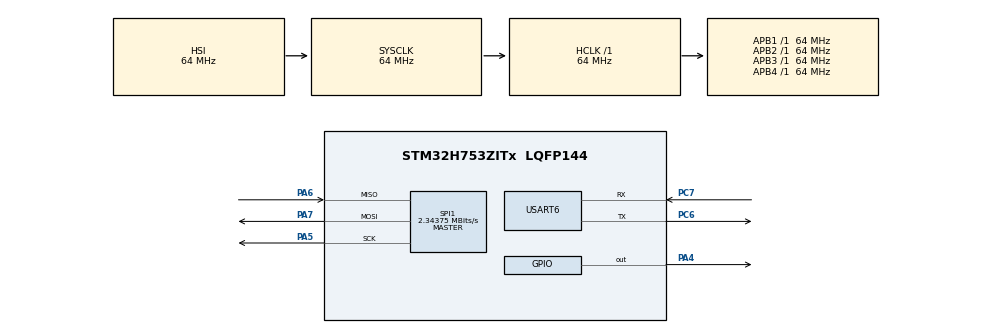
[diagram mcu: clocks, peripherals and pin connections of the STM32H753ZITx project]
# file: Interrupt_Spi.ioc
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CORTEX_M7.CPU_DCache=Disabled
CORTEX_M7.CPU_ICache=Disabled
CORTEX_M7.MPU_Control=__NULL
CORTEX_M7.default_mode_Activation=1
Mcu.Family=STM32H7
Mcu.Name=STM32H753ZITx
Mcu.Package=LQFP144
NVIC.PriorityGroup=NVIC_PRIORITYGROUP_4
NVIC.SPI1_IRQn=true\:0\:0\:false\:false\:true\:true\:true\:true
PA4.Signal=GPIO_Output
PA5.Mode=Full_Duplex_Master
PA5.Signal=SPI1_SCK
PA6.Mode=Full_Duplex_Master
PA6.Signal=SPI1_MISO
PA7.Mode=Full_Duplex_Master
PA7.Signal=SPI1_MOSI
PB0.TagName=LD1
PB14.TagName=LD3
PB7.TagName=LD2
PC13.TagName=BUTTON
PC6.Mode=Asynchronous
PC6.Signal=USART6_TX
PC7.Mode=Asynchronous
PC7.Signal=USART6_RX
PD8.TagName=VCP_TX
PD9.TagName=VCP_RX
ProjectManager.HeapSize=0x200
ProjectManager.StackSize=0x400
ProjectManager.TargetToolchain=STM32CubeIDE
RCC.ADCFreq_Value=129000000
RCC.APB1Freq_Value=64000000
RCC.APB2Freq_Value=64000000
RCC.APB3Freq_Value=64000000
RCC.APB4Freq_Value=64000000
RCC.CortexFreq_Value=64000000
RCC.DIVM1=4
RCC.DIVN1=9
RCC.DIVQ1=1
RCC.HCLKFreq_Value=64000000
RCC.HSE_VALUE=8000000
RCC.PLLFRACN=3072
RCC.PWR_Regulator_Voltage_Scale=PWR_REGULATOR_VOLTAGE_SCALE2
RCC.SYSCLKFreq_VALUE=64000000
RCC.USBFreq_Value=150000000
SPI1.BaudRatePrescaler=SPI_BAUDRATEPRESCALER_64
SPI1.CalculateBaudRate=2.34375 MBits/s
SPI1.DataSize=SPI_DATASIZE_8BIT
SPI1.Direction=SPI_DIRECTION_2LINES
SPI1.Mode=SPI_MODE_MASTER
SPI1.VirtualType=VM_MASTER
USART6.VirtualMode-Asynchronous=VM_ASYNC
VP_MEMORYMAP_VS_MEMORYMAP.Mode=CurAppReg
board=NUCLEO-H753ZI

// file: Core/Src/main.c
/* USER CODE BEGIN Header */
/**
  ******************************************************************************
  * @file           : main.c
  * @brief          : SPI1 Master (IT) + UART6 print demo
  ******************************************************************************
  */
/* USER CODE END Header */

#include "main.h"

/* USER CODE BEGIN Includes */
#include <string.h>
#include <stdio.h>
/* USER CODE END Includes */

SPI_HandleTypeDef hspi1;
UART_HandleTypeDef huart6;

/* USER CODE BEGIN PV */
static volatile uint8_t spi_busy = 0;
static volatile uint8_t spi_done = 0;

static uint8_t txByte = 0x00;
static uint8_t rxByte = 0x00;

static char uartBuf[80];
/* USER CODE END PV */

void SystemClock_Config(void);
static void MX_GPIO_Init(void);
static void MX_SPI1_Init(void);
static void MX_USART6_UART_Init(void);

/* USER CODE BEGIN PFP */
static void CS_Low(void);
static void CS_High(void);
static void uart_print(const char *s);
static void SPI1_TransferByte_IT(uint8_t b);
/* USER CODE END PFP */

/* USER CODE BEGIN 0 */

static void CS_Low(void)
{
  HAL_GPIO_WritePin(GPIOA, GPIO_PIN_4, GPIO_PIN_RESET);
}

static void CS_High(void)
{
  HAL_GPIO_WritePin(GPIOA, GPIO_PIN_4, GPIO_PIN_SET);
}

static void uart_print(const char *s)
{
  HAL_UART_Transmit(&huart6, (uint8_t*)s, (uint16_t)strlen(s), 100);
}

/**
  * Start 1-byte SPI transfer using interrupts.
  * This function only starts the transfer; completion happens in callback.
  */
static void SPI1_TransferByte_IT(uint8_t b)
{
  if (spi_busy) return;

  spi_busy = 1;
  spi_done = 0;
  txByte = b;

  CS_Low();

  if (HAL_SPI_TransmitReceive_IT(&hspi1, &txByte, &rxByte, 1) != HAL_OK)
  {
    CS_High();
    spi_busy = 0;
    uart_print("HAL_SPI_TransmitReceive_IT failed\r\n");
  }
}

/**
  * SPI interrupt completion callback
  */
void HAL_SPI_TxRxCpltCallback(SPI_HandleTypeDef *hspi)
{
  if (hspi->Instance == SPI1)
  {
    CS_High();
    spi_busy = 0;
    spi_done = 1;
  }
}

/**
  * SPI error callback
  */
void HAL_SPI_ErrorCallback(SPI_HandleTypeDef *hspi)
{
  if (hspi->Instance == SPI1)
  {
    CS_High();
    spi_busy = 0;
    spi_done = 0;
    uart_print("SPI1 Error Callback\r\n");
  }
}

/* USER CODE END 0 */

int main(void)
{
  HAL_Init();
  SystemClock_Config();

  MX_GPIO_Init();
  MX_SPI1_Init();
  MX_USART6_UART_Init();

  /* USER CODE BEGIN 2 */
  // Make CS idle HIGH (inactive). Your default code set PA4 RESET; we override here.
  CS_High();

  uart_print("STM32 SPI1 IT demo start\r\n");
  uart_print("Mode: SPI1 Master, 8-bit, CPOL=0 CPHA=1 (Mode0), presc=64\r\n");

  // Start first transfer
  SPI1_TransferByte_IT(txByte);
  /* USER CODE END 2 */

  while (1)
  {
    /* USER CODE BEGIN WHILE */

    // When one byte transaction is done, print it and start next one
    if (spi_done)
    {
      spi_done = 0;

      int n = snprintf(uartBuf, sizeof(uartBuf),
                       "Sent: 0x%02X  Received: 0x%02X\r\n",
                       txByte, rxByte);
      HAL_UART_Transmit(&huart6, (uint8_t*)uartBuf, (uint16_t)n, 100);

      txByte++;  // next byte to send

      HAL_Delay(500); // slow down for easy viewing

      SPI1_TransferByte_IT(txByte);
    }

    /* USER CODE END WHILE */
  }
}

/* ===================== CLOCK + INIT FUNCTIONS (CubeMX) ===================== */

void SystemClock_Config(void)
{
  RCC_OscInitTypeDef RCC_OscInitStruct = {0};
  RCC_ClkInitTypeDef RCC_ClkInitStruct = {0};

  HAL_PWREx_ConfigSupply(PWR_LDO_SUPPLY);
  __HAL_PWR_VOLTAGESCALING_CONFIG(PWR_REGULATOR_VOLTAGE_SCALE2);
  while(!__HAL_PWR_GET_FLAG(PWR_FLAG_VOSRDY)) {}

  RCC_OscInitStruct.OscillatorType = RCC_OSCILLATORTYPE_HSI;
  RCC_OscInitStruct.HSIState = RCC_HSI_DIV1;
  RCC_OscInitStruct.HSICalibrationValue = RCC_HSICALIBRATION_DEFAULT;
  RCC_OscInitStruct.PLL.PLLState = RCC_PLL_ON;
  RCC_OscInitStruct.PLL.PLLSource = RCC_PLLSOURCE_HSI;
  RCC_OscInitStruct.PLL.PLLM = 4;
  RCC_OscInitStruct.PLL.PLLN = 9;
  RCC_OscInitStruct.PLL.PLLP = 2;
  RCC_OscInitStruct.PLL.PLLQ = 1;
  RCC_OscInitStruct.PLL.PLLR = 2;
  RCC_OscInitStruct.PLL.PLLRGE = RCC_PLL1VCIRANGE_3;
  RCC_OscInitStruct.PLL.PLLVCOSEL = RCC_PLL1VCOMEDIUM;
  RCC_OscInitStruct.PLL.PLLFRACN = 3072;

  if (HAL_RCC_OscConfig(&RCC_OscInitStruct) != HAL_OK) Error_Handler();

  RCC_ClkInitStruct.ClockType = RCC_CLOCKTYPE_HCLK|RCC_CLOCKTYPE_SYSCLK
                              |RCC_CLOCKTYPE_PCLK1|RCC_CLOCKTYPE_PCLK2
                              |RCC_CLOCKTYPE_D3PCLK1|RCC_CLOCKTYPE_D1PCLK1;
  RCC_ClkInitStruct.SYSCLKSource = RCC_SYSCLKSOURCE_HSI;
  RCC_ClkInitStruct.SYSCLKDivider = RCC_SYSCLK_DIV1;
  RCC_ClkInitStruct.AHBCLKDivider = RCC_HCLK_DIV1;
  RCC_ClkInitStruct.APB3CLKDivider = RCC_APB3_DIV1;
  RCC_ClkInitStruct.APB1CLKDivider = RCC_APB1_DIV1;
  RCC_ClkInitStruct.APB2CLKDivider = RCC_APB2_DIV1;
  RCC_ClkInitStruct.APB4CLKDivider = RCC_APB4_DIV1;

  if (HAL_RCC_ClockConfig(&RCC_ClkInitStruct, FLASH_LATENCY_1) != HAL_OK)
    Error_Handler();
}

static void MX_SPI1_Init(void)
{
  hspi1.Instance = SPI1;
  hspi1.Init.Mode = SPI_MODE_MASTER;
  hspi1.Init.Direction = SPI_DIRECTION_2LINES;
  hspi1.Init.DataSize = SPI_DATASIZE_8BIT;
  hspi1.Init.CLKPolarity = SPI_POLARITY_LOW;
  hspi1.Init.CLKPhase = SPI_PHASE_1EDGE;
  hspi1.Init.NSS = SPI_NSS_SOFT;
  hspi1.Init.BaudRatePrescaler = SPI_BAUDRATEPRESCALER_64;
  hspi1.Init.FirstBit = SPI_FIRSTBIT_MSB;
  hspi1.Init.TIMode = SPI_TIMODE_DISABLE;
  hspi1.Init.CRCCalculation = SPI_CRCCALCULATION_DISABLE;
  hspi1.Init.CRCPolynomial = 0x0;
  hspi1.Init.NSSPMode = SPI_NSS_PULSE_ENABLE;
  hspi1.Init.NSSPolarity = SPI_NSS_POLARITY_LOW;
  hspi1.Init.FifoThreshold = SPI_FIFO_THRESHOLD_01DATA;
  hspi1.Init.TxCRCInitializationPattern = SPI_CRC_INITIALIZATION_ALL_ZERO_PATTERN;
  hspi1.Init.RxCRCInitializationPattern = SPI_CRC_INITIALIZATION_ALL_ZERO_PATTERN;
  hspi1.Init.MasterSSIdleness = SPI_MASTER_SS_IDLENESS_00CYCLE;
  hspi1.Init.MasterInterDataIdleness = SPI_MASTER_INTERDATA_IDLENESS_00CYCLE;
  hspi1.Init.MasterReceiverAutoSusp = SPI_MASTER_RX_AUTOSUSP_DISABLE;
  hspi1.Init.MasterKeepIOState = SPI_MASTER_KEEP_IO_STATE_DISABLE;
  hspi1.Init.IOSwap = SPI_IO_SWAP_DISABLE;

  if (HAL_SPI_Init(&hspi1) != HAL_OK) Error_Handler();
}

static void MX_USART6_UART_Init(void)
{
  huart6.Instance = USART6;
  huart6.Init.BaudRate = 115200;
  huart6.Init.WordLength = UART_WORDLENGTH_8B;
  huart6.Init.StopBits = UART_STOPBITS_1;
  huart6.Init.Parity = UART_PARITY_NONE;
  huart6.Init.Mode = UART_MODE_TX_RX;
  huart6.Init.HwFlowCtl = UART_HWCONTROL_NONE;
  huart6.Init.OverSampling = UART_OVERSAMPLING_16;
  huart6.Init.OneBitSampling = UART_ONE_BIT_SAMPLE_DISABLE;
  huart6.Init.ClockPrescaler = UART_PRESCALER_DIV1;
  huart6.AdvancedInit.AdvFeatureInit = UART_ADVFEATURE_NO_INIT;

  if (HAL_UART_Init(&huart6) != HAL_OK) Error_Handler();
  if (HAL_UARTEx_SetTxFifoThreshold(&huart6, UART_TXFIFO_THRESHOLD_1_8) != HAL_OK) Error_Handler();
  if (HAL_UARTEx_SetRxFifoThreshold(&huart6, UART_RXFIFO_THRESHOLD_1_8) != HAL_OK) Error_Handler();
  if (HAL_UARTEx_DisableFifoMode(&huart6) != HAL_OK) Error_Handler();
}

static void MX_GPIO_Init(void)
{
  GPIO_InitTypeDef GPIO_InitStruct = {0};

  __HAL_RCC_GPIOA_CLK_ENABLE();
  __HAL_RCC_GPIOC_CLK_ENABLE();

  // NOTE: CubeMX set PA4 output level RESET; we will set HIGH in main().
  HAL_GPIO_WritePin(GPIOA, GPIO_PIN_4, GPIO_PIN_RESET);

  GPIO_InitStruct.Pin = GPIO_PIN_4;
  GPIO_InitStruct.Mode = GPIO_MODE_OUTPUT_PP;
  GPIO_InitStruct.Pull = GPIO_NOPULL;
  GPIO_InitStruct.Speed = GPIO_SPEED_FREQ_LOW;
  HAL_GPIO_Init(GPIOA, &GPIO_InitStruct);
}

void Error_Handler(void)
{
  __disable_irq();
  while (1) {}
}
